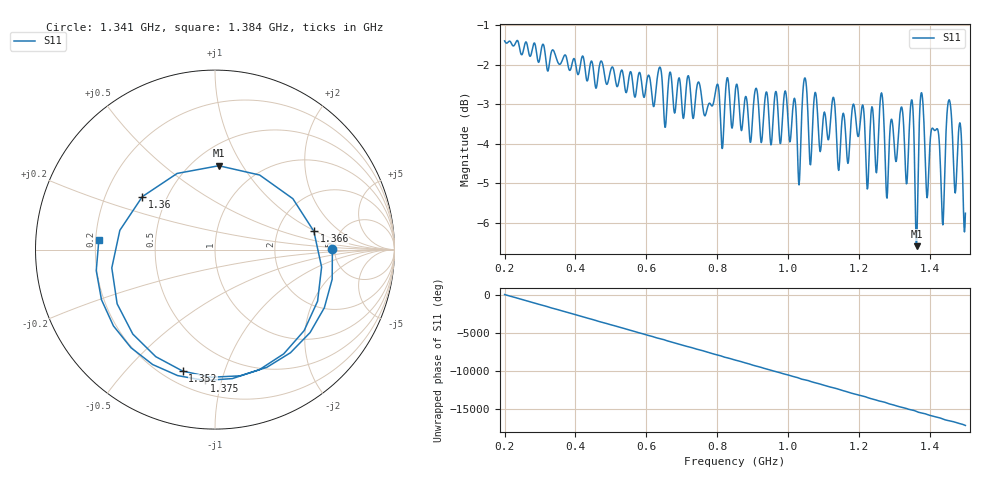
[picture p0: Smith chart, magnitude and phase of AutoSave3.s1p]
!Agilent N9923A: A.05.17
!Date: Sunday, 01 January 2006 12:25:34
!Model: N9923A
!Serial: MY50371189
!CHECKSUM:1523224099
!Correction: S11(ON U)
!S1P File: Measurement: S11:
# Hz S RI R 50
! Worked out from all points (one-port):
!   1001 points, 200 MHz to 1.5 GHz, reference 50 ohm
!   lowest |S11| = -6.6 dB at 1.362 GHz (marker M1), VSWR 2.76, Z = 33.2 + j39.7 ohm
!   |S11| at or under -10 dB: nowhere
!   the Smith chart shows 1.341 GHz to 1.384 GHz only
!   S11 on the Smith chart (normalised r, x): 1.341 GHz: 4.78, +0.10; 1.352 GHz: 0.28, -0.73; 1.36 GHz: 0.36, +0.29; 1.366 GHz: 3.23, +0.96; 1.375 GHz: 0.28, -0.88; 1.384 GHz: 0.21, +0.04
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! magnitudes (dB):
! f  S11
! 200 MHz  -1.4
! 362.5 MHz  -1.9
! 525 MHz  -2.3
! 687.5 MHz  -2.6
! 850 MHz  -2.8
! 1.012 GHz  -3.2
! 1.031 GHz  -5.0
! 1.046 GHz  -2.3
! 1.175 GHz  -3.8
! 1.21 GHz  -3.0
! 1.224 GHz  -5.1
! 1.263 GHz  -2.7
! 1.278 GHz  -5.3
! 1.319 GHz  -3.1
! 1.337 GHz  -4.6
! 1.341 GHz  -3.7
! 1.352 GHz  -3.1
! 1.36 GHz  -6.0
! 1.362 GHz  -6.6
! 1.366 GHz  -5.0
! 1.375 GHz  -2.7
! 1.384 GHz  -3.8
! 1.419 GHz  -3.6
! 1.436 GHz  -6.1
! 1.454 GHz  -2.9
! 1.47 GHz  -5.2
! 1.486 GHz  -3.5
! 1.5 GHz  -5.8
